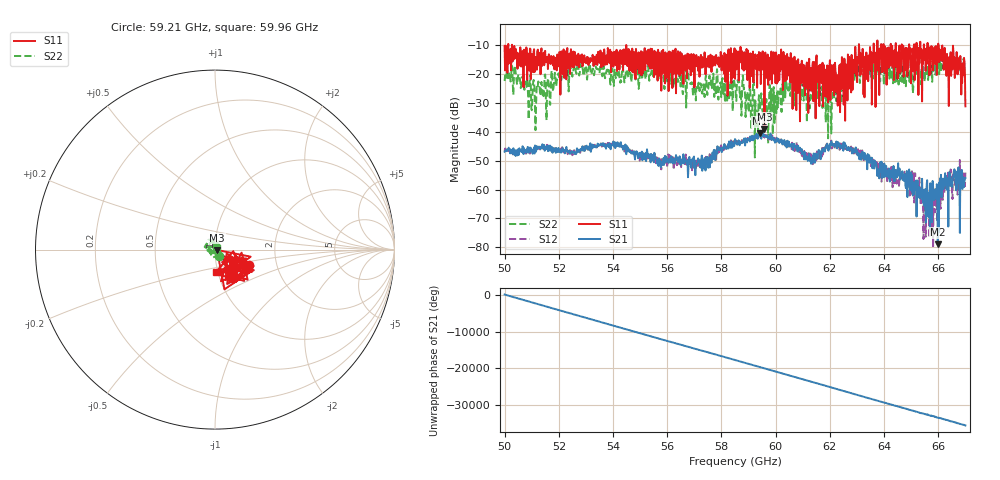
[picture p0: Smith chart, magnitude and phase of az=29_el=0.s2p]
!Created with skrf (http://scikit-rf.org).
# GHz S RI R 50.0
!freq ReS11 ImS11 ReS21 ImS21 ReS12 ImS12 ReS22 ImS22
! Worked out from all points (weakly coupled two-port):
!   1001 points, 50 GHz to 67 GHz, reference 50 ohm
!   highest |S21| = -40.56 dB at 59.42 GHz (marker M1); lowest = -78.9 dB at 65.98 GHz (marker M2)
!   lowest |S11| = -39.0 dB at 59.59 GHz (marker M3), VSWR 1.02, Z = 51.1 - j0.213 ohm
!   |S11| at or under -10 dB: 50.27 GHz to 54.49 GHz (4.215 GHz wide, 8.05 % of centre); 54.49 GHz to 63.07 GHz (8.584 GHz wide, 14.6 % of centre); 66.01 GHz to end of sweep (the widest 3 of 19)
!   |S22| runs from -48.9 to -13.5 dB; largest |S21 - S12| = 0.0031
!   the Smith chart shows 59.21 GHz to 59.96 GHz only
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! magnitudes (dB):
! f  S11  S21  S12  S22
! 50 GHz  -10.2  -46.9  -46.7  -22.4
! 50.44 GHz  -12.4  -46.4  -46.6  -22.5
! 51.07 GHz  -12.3  -46.3  -46.1  -22.0
! 52.84 GHz  -14.3  -45.9  -45.8  -18.2
! 54.2 GHz  -16.5  -44.4  -44.6  -18.8
! 55.68 GHz  -13.6  -51.8  -50.9  -21.6
! 57.21 GHz  -17.0  -49.9  -49.9  -24.9
! 58.5 GHz  -21.6  -42.5  -42.9  -23.9
! 59.13 GHz  -15.8  -41.4  -41.3  -36.2
! 59.32 GHz  -24.7  -41.5  -41.1  -34.7
! 59.42 GHz  -13.9  -40.6  -41.6  -32.3
! 59.59 GHz  -39.0  -41.6  -42.0  -32.3
! 60.57 GHz  -16.9  -44.2  -44.7  -21.9
! 61.34 GHz  -24.6  -50.5  -48.1  -25.2
! 62 GHz  -15.2  -44.3  -45.5  -24.7
! 62.46 GHz  -17.6  -45.8  -44.0  -22.5
! 64.18 GHz  -17.8  -52.7  -53.2  -18.2
! 65.11 GHz  -9.7  -57.4  -64.5  -16.8
! 65.61 GHz  -9.2  -63.9  -65.2  -18.6
! 65.98 GHz  -15.8  -78.9  -63.4  -17.8
! 66.75 GHz  -18.5  -52.3  -55.7  -18.9
! 67 GHz  -31.2  -55.9  -54.1  -16.3
